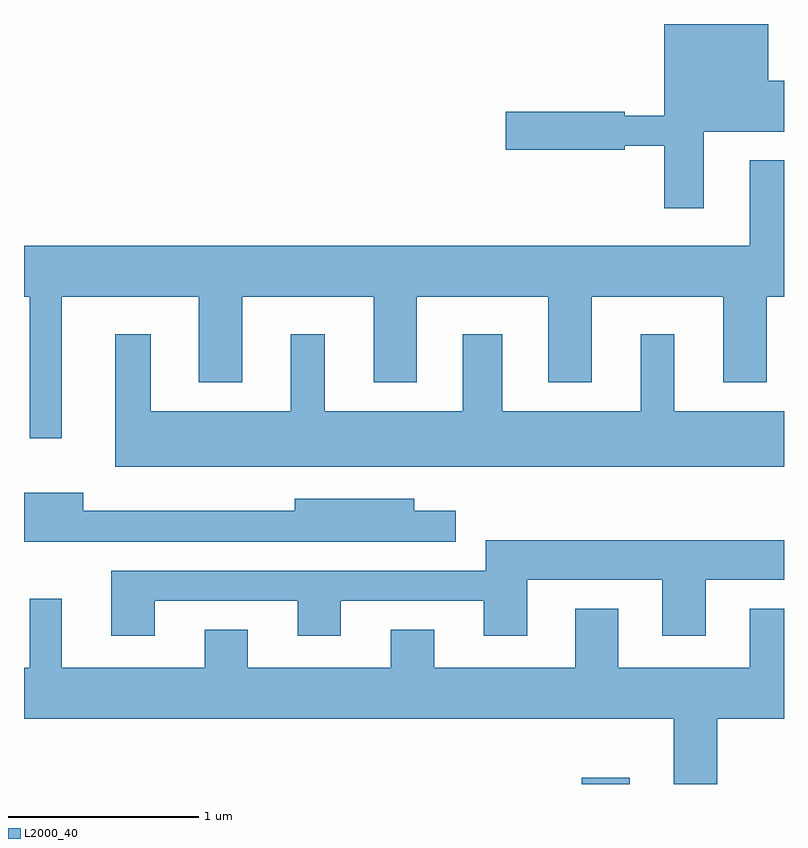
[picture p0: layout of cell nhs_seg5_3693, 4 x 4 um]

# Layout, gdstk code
import gdstk
lib = gdstk.Library(unit=1e-6, precision=1e-09)
def R(c, l, rs):  # rectangles x0, y0, x1, y1
    for r in rs: c.add(gdstk.rectangle(r[:2], r[2:], *l))
def P(c, l, *ps):  # polygons
    for p in ps: c.add(gdstk.Polygon(p, *l))
L2000_40 = (2000, 40)

nhs_seg5_3693 = lib.new_cell('nhs_seg5_3693')
R(nhs_seg5_3693, L2000_40, [(298.546,1392.072,298.799,1392.104)])
P(nhs_seg5_3693, L2000_40, [(299.189,1395.506),(299.611,1395.506),(299.611,1395.774),(299.529,1395.774),(299.529,1396.072),(298.981,1396.072),(298.981,1395.589),(298.774,1395.589),(298.774,1395.609),(298.146,1395.609),(298.146,1395.411),(298.774,1395.411),(298.774,1395.431),(298.981,1395.431),(298.981,1395.101),(299.189,1395.101)],
  [(295.809,1394.636),(296.531,1394.636),(296.531,1394.186),(296.759,1394.186),(296.759,1394.636),(297.451,1394.636),(297.451,1394.186),(297.679,1394.186),(297.679,1394.636),(298.371,1394.636),(298.371,1394.186),(298.599,1394.186),(298.599,1394.636),(299.291,1394.636),(299.291,1394.186),(299.519,1394.186),(299.519,1394.636),(299.611,1394.636),(299.611,1395.354),(299.431,1395.354),(299.431,1394.904),(295.611,1394.904),(295.611,1394.636),(295.641,1394.636),(295.641,1393.893),(295.809,1393.893)],
  [(299.611,1394.034),(299.034,1394.034),(299.034,1394.439),(298.856,1394.439),(298.856,1394.034),(298.129,1394.034),(298.129,1394.439),(297.921,1394.439),(297.921,1394.034),(297.194,1394.034),(297.194,1394.439),(297.016,1394.439),(297.016,1394.034),(296.279,1394.034),(296.279,1394.439),(296.091,1394.439),(296.091,1393.741),(299.611,1393.741)],
  [(297.883,1393.509),(297.664,1393.509),(297.664,1393.574),(297.036,1393.574),(297.036,1393.509),(295.924,1393.509),(295.924,1393.604),(295.611,1393.604),(295.611,1393.346),(297.883,1393.346)],
  [(296.299,1393.036),(297.051,1393.036),(297.051,1392.851),(297.279,1392.851),(297.279,1393.036),(298.031,1393.036),(298.031,1392.851),(298.259,1392.851),(298.259,1393.146),(298.971,1393.146),(298.971,1392.851),(299.199,1392.851),(299.199,1393.146),(299.611,1393.146),(299.611,1393.354),(298.041,1393.354),(298.041,1393.194),(296.071,1393.194),(296.071,1392.851),(296.299,1392.851)],
  [(299.259,1392.416),(299.611,1392.416),(299.611,1392.994),(299.431,1392.994),(299.431,1392.684),(298.739,1392.684),(298.739,1392.994),(298.511,1392.994),(298.511,1392.684),(297.769,1392.684),(297.769,1392.884),(297.541,1392.884),(297.541,1392.684),(296.789,1392.684),(296.789,1392.884),(296.561,1392.884),(296.561,1392.684),(295.809,1392.684),(295.809,1393.048),(295.641,1393.048),(295.641,1392.684),(295.611,1392.684),(295.611,1392.416),(299.031,1392.416),(299.031,1392.072),(299.259,1392.072)])

lib.write_gds('nhs_seg5_3693.gds')
